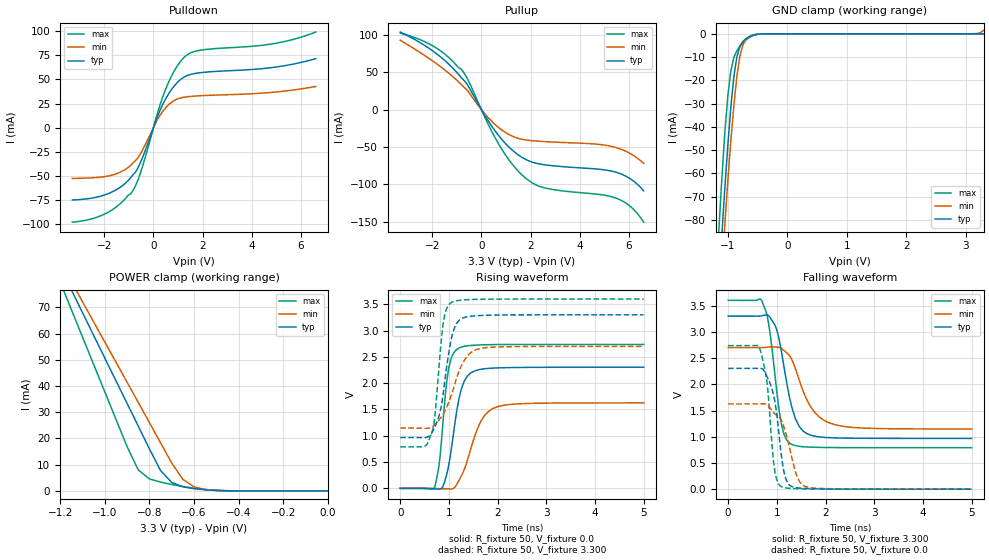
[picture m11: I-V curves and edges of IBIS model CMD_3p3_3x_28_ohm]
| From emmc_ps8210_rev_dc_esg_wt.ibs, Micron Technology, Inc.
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|   Model CMD_3p3_3x_28_ohm
[Model]   CMD_3p3_3x_28_ohm
Model_type   I/O
Vinl   = 1.10V
Vinh   = 1.85V
Vmeas  = 1.65V
|   typ   min   max
C_comp   6.990pF   6.500pF   7.430pF
[Voltage Range]   3.300V   2.700V   3.600V
| Junction Temperature (Ambient temp is 35C typ, 85C min, -25C max)
[Temperature Range]   50.0   100.0   -25.0
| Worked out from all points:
|   slope of the pulldown table from 0 to 0.495 V, typ, clamps not added: 16.6 ohm
|   slope of the pullup table from 0 to 0.495 V, typ, clamps not added: 19.3 ohm
|   GND clamp passes 1 mA (typ) near -0.62 V on its own axis
|   POWER clamp passes 1 mA (typ) near -0.61 V on its own axis
|   rising waveform, R_fixture 50, V_fixture 0.0: 20-80 % time 243ps typ, 374ps min, 170ps max; typ from 0 V to 2.3 V
|   falling waveform, R_fixture 50, V_fixture 3.300: 20-80 % time 299ps typ, 440ps min, 223ps max; typ from 3.3 V to 0.967 V
|   rising waveform, R_fixture 50, V_fixture 3.300: 20-80 % time 236ps typ, 379ps min, 159ps max; typ from 0.967 V to 3.3 V
|   falling waveform, R_fixture 50, V_fixture 0.0: 20-80 % time 201ps typ, 287ps min, 156ps max; typ from 2.3 V to 0 V
[Pulldown]
|   Voltage   I(typ)   I(min)   I(max)
-3.3V     -74.85mA   -52.54mA   -97.81mA
-1.914V   -68.95mA   -50.37mA   -88.46mA
-1.32V    -61.09mA   -45.69mA   -77.97mA
-825mV    -48.54mA   -36.18mA   -64.93mA
-528mV    -35.95mA   -26.93mA   -46.77mA
165mV     11.62mA    8.457mA    15.24mA
462mV     28.27mA    19.6mA     37.67mA
858mV     43.59mA    28.27mA    59.28mA
1.353V    53.76mA    31.93mA    75.08mA
2.046V    57.26mA    33.23mA    80.64mA
5.016V    62.88mA    37.01mA    87.55mA
6.6V      71.45mA    42.64mA    98.92mA
[GND_clamp]
|   Voltage   I(typ)   I(min)   I(max)
-3.3V     -1.215A    -1.186A    -1.264A
-1.15V    -106.9mA   -121.7mA   -83.42mA
-1.1V     -85.79mA   -101.1mA   -61.61mA
-1.05V    -65.86mA   -81.43mA   -42.03mA
-1V       -47.53mA   -62.91mA   -26.45mA
-950mV    -31.34mA   -45.93mA   -15.87mA
-900mV    -18.56mA   -30.95mA   -10.14mA
-850mV    -10.08mA   -18.57mA   -7.26mA
-800mV    -5.518mA   -9.883mA   -5.408mA
-750mV    -3.354mA   -4.867mA   -3.954mA
-650mV    -1.397mA   -1.296mA   -1.774mA
3.3V      153.5pA    1.541mA    28.72pA
[Pullup]
|   Voltage   I(typ)   I(min)   I(max)
-3.3V     103.8mA    92.94mA    102.4mA
-1.914V   77.06mA    63.55mA    84.1mA
-825mV    42.92mA    33.77mA    54.38mA
-528mV    31.05mA    23.83mA    38.81mA
165mV     -9.19mA    -6.625mA   -11.99mA
759mV     -37.13mA   -25.57mA   -49.22mA
1.353V    -57.05mA   -36.91mA   -77.09mA
1.848V    -67.53mA   -40.88mA   -93.16mA
2.64V     -74.25mA   -43.03mA   -105.4mA
5.511V    -84.32mA   -51.23mA   -119mA
6.105V    -93.78mA   -59.83mA   -131.1mA
6.6V      -108.8mA   -72.13mA   -150.9mA
[POWER_clamp]
|   Voltage   I(typ)   I(min)   I(max)
-3.3V     453.3mA    414.4mA    751.9mA
-1.2V     85.34mA    87.53mA    79.65mA
-1.15V    76.66mA    79.83mA    69.17mA
-1.1V     67.99mA    72.13mA    58.7mA
-900mV    33.36mA    41.43mA    16.88mA
-850mV    24.71mA    33.74mA    7.997mA
-800mV    16.03mA    26.04mA    4.596mA
-750mV    7.762mA    18.34mA    3.354mA
-700mV    3.218mA    10.64mA    2.457mA
-650mV    1.558mA    4.403mA    1.681mA
-600mV    854.9uA    1.541mA    1.032mA
0V        154pA      391.7pA    39.41pA
[Ramp]
|   typ   min   max
dV/dt_r   1.38/242.70p   975.60m/374.03p   1.64/169.73p
dV/dt_f   1.40/298.58p   931.67m/440.15p   1.69/223.34p
R_load = 50
[Rising Waveform]
R_fixture = 50
V_fixture = 0.0
|   Time   V(typ)   V(min)   V(max)
0s        18.82nV    22.49nV    387.5nV
700ps     -7.901mV   -2.977mV   14.39mV
810ps     -13.84mV   -5.316mV   541.4mV
930ps     184.8mV    -7.822mV   1.812V
1ns       459.5mV    -10.17mV   2.304V
1.2ns     1.671V     139.9mV    2.666V
1.39ns    2.146V     566.2mV    2.712V
1.65ns    2.263V     1.265V     2.728V
1.9ns     2.287V     1.517V     2.734V
5ns       2.303V     1.626V     2.737V
[Falling Waveform]
R_fixture   = 50
V_fixture   = 3.300
V_fixture_min = 2.700
V_fixture_max = 3.600
|   Time   V(typ)   V(min)   V(max)
0s        3.3V       2.7V       3.6V
700ps     3.308V     2.7V       3.573V
830ps     3.307V     2.71V      3.163V
990ps     3.062V     2.71V      1.935V
1.1ns     2.592V     2.679V     1.219V
1.27ns    1.713V     2.532V     872.7mV
1.54ns    1.107V     1.872V     808.9mV
1.76ns    1.015V     1.485V     799.2mV
2.06ns    982.9mV    1.27V      794.2mV
5ns       967.3mV    1.148V     790.6mV
[Rising Waveform]
R_fixture   = 50
V_fixture   = 3.300
V_fixture_min = 2.700
V_fixture_max = 3.600
|   Time   V(typ)   V(min)   V(max)
0s        967.1mV    1.147V     790.5mV
510ps     966.6mV    1.141V     802.9mV
650ps     1.058V     1.168V     1.066V
720ps     1.189V     1.219V     1.444V
820ps     1.464V     1.329V     2.575V
890ps     1.856V     1.425V     3.184V
1.05ns    2.843V     1.773V     3.534V
1.29ns    3.241V     2.391V     3.583V
1.61ns    3.286V     2.652V     3.596V
5ns       3.3V       2.7V       3.6V
[Falling Waveform]
R_fixture = 50
V_fixture = 0.0
|   Time   V(typ)   V(min)   V(max)
0s        2.303V     1.626V     2.737V
650ps     2.305V     1.627V     2.678V
800ps     2.138V     1.611V     2.023V
930ps     1.806V     1.464V     548.6mV
990ps     1.49V      1.415V     204.6mV
1.09ns    668.1mV    1.315V     48.83mV
1.25ns    85.8mV     833.2mV    17.44mV
1.43ns    24.31mV    207.7mV    8.764mV
1.58ns    14.32mV    52.57mV    5.121mV
5ns       61.69uV    73.18uV    52.56uV
